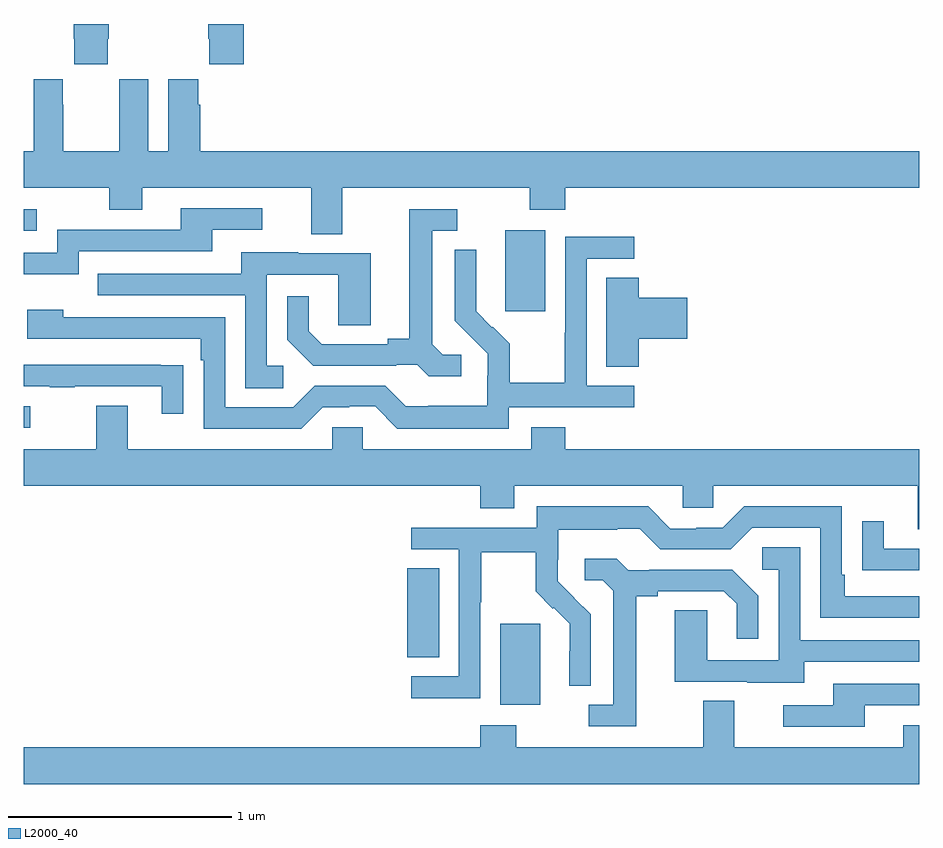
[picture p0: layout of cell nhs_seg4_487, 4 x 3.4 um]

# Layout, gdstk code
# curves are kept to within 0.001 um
import gdstk
lib = gdstk.Library(unit=1e-6, precision=1e-09)
def R(c, l, rs):  # rectangles x0, y0, x1, y1
    for r in rs: c.add(gdstk.rectangle(r[:2], r[2:], *l))
def P(c, l, *ps):  # polygons
    for p in ps: c.add(gdstk.Polygon(p, *l))
L2000_40 = (2000, 40)

nhs_seg4_487 = lib.new_cell('nhs_seg4_487')
R(nhs_seg4_487, L2000_40, [(137.129,779.858,137.308,780.219), (136.712,780.07,136.855,780.467), (135,781.095,135.028,781.191), (137.15,781.617,137.329,781.978), (135,781.977,135.058,782.073)])
P(nhs_seg4_487, L2000_40, [(135.983,782.9),(135.823,782.9),(135.823,782.833),(135.829,782.833),(135.829,782.721),(135.983,782.721)],
  [(135.375,782.833),(135.378,782.833),(135.378,782.9),(135.223,782.9),(135.223,782.833),(135.225,782.833),(135.225,782.721),(135.375,782.721)],
  [(136.423,782.168),(137.26,782.168),(137.26,782.069),(137.42,782.069),(137.42,782.168),(139,782.168),(139,782.332),(135.788,782.332),(135.788,782.54),(135.778,782.54),(135.778,782.653),(135.644,782.653),(135.644,782.332),(135.556,782.332),(135.556,782.653),(135.426,782.653),(135.426,782.54),(135.425,782.54),(135.425,782.332),(135.175,782.332),(135.175,782.54),(135.174,782.54),(135.174,782.653),(135.044,782.653),(135.044,782.332),(135,782.332),(135,782.168),(135.382,782.168),(135.382,782.069),(135.529,782.069),(135.529,782.168),(136.283,782.168),(136.283,781.96),(136.423,781.96)],
  [(135.246,781.884),(135.841,781.884),(135.841,781.98),(136.066,781.98),(136.066,782.076),(135.701,782.076),(135.701,781.98),(135.15,781.98),(135.15,781.878),(135,781.878),(135,781.781),(135.246,781.781)],
  [(136.954,781.422),(136.872,781.422),(136.825,781.469),(136.825,781.977),(136.936,781.977),(136.936,782.073),(136.721,782.073),(136.721,781.493),(136.625,781.493),(136.625,781.47),(136.33,781.47),(136.273,781.527),(136.273,781.684),(136.176,781.684),(136.176,781.49),(136.292,781.374),(136.664,781.374),(136.664,781.377),(136.758,781.377),(136.81,781.325),(136.954,781.325)],
  [(137.166,781.188),(137.728,781.188),(137.728,781.284),(137.514,781.284),(137.514,781.851),(137.728,781.851),(137.728,781.95),(137.418,781.95),(137.418,781.52),(137.416,781.52),(137.416,781.297),(137.171,781.297),(137.171,781.471),(137.094,781.548),(137.091,781.545),(137.021,781.616),(137.022,781.892),(136.926,781.892),(136.926,781.574),(137.072,781.426),(137.072,781.329),(137.07,781.329),(137.07,781.195),(136.807,781.195),(136.807,781.191),(136.707,781.191),(136.614,781.284),(136.299,781.284),(136.203,781.188),(135.9,781.188),(135.9,781.59),(135.176,781.59),(135.176,781.624),(135.015,781.624),(135.015,781.494),(135.791,781.494),(135.791,781.397),(135.804,781.397),(135.804,781.092),(136.239,781.092),(136.335,781.188),(136.454,781.188),(136.454,781.191),(136.569,781.191),(136.669,781.091),(137.166,781.091)],
  [(136.159,781.374),(136.086,781.374),(136.086,781.779),(136.404,781.779),(136.404,781.555),(136.549,781.555),(136.549,781.875),(136.225,781.875),(136.225,781.879),(135.971,781.879),(135.971,781.785),(135.331,781.785),(135.331,781.689),(135.99,781.689),(135.99,781.273),(136.159,781.273)],
  [(137.747,781.493),(137.965,781.493),(137.965,781.676),(137.747,781.676),(137.747,781.766),(137.603,781.766),(137.603,781.369),(137.747,781.369)],
  [(135.713,781.376),(135.611,781.376),(135.611,781.377),(135,781.377),(135,781.281),(135.115,781.281),(135.115,781.276),(135.227,781.276),(135.227,781.281),(135.617,781.281),(135.617,781.158),(135.713,781.158)],
  [(139,781),(137.42,781),(137.42,781.099),(137.267,781.099),(137.267,781),(136.515,781),(136.515,781.098),(136.377,781.098),(136.377,781),(135.463,781),(135.463,781.195),(135.323,781.195),(135.323,781),(135,781),(135,780.836),(137.039,780.836),(137.039,780.737),(137.191,780.737),(137.191,780.836),(137.943,780.836),(137.943,780.738),(138.081,780.738),(138.081,780.836),(138.995,780.836),(138.995,780.642),(139,780.642)],
  [(137.04,780.316),(137.043,780.316),(137.043,780.54),(137.287,780.54),(137.287,780.365),(137.364,780.288),(137.367,780.291),(137.438,780.221),(137.438,780.098),(137.436,780.098),(137.436,779.944),(137.532,779.944),(137.532,780.262),(137.386,780.41),(137.386,780.507),(137.388,780.507),(137.388,780.641),(137.651,780.641),(137.651,780.645),(137.751,780.645),(137.844,780.552),(138.159,780.552),(138.255,780.648),(138.558,780.648),(138.558,780.246),(139,780.246),(139,780.342),(138.667,780.342),(138.667,780.439),(138.654,780.439),(138.654,780.744),(138.219,780.744),(138.123,780.648),(138.005,780.648),(138.005,780.645),(137.889,780.645),(137.789,780.745),(137.292,780.745),(137.292,780.648),(136.731,780.648),(136.731,780.552),(136.944,780.552),(136.944,779.985),(136.731,779.985),(136.731,779.887),(137.04,779.887)],
  [(139,780.555),(138.841,780.555),(138.841,780.679),(138.745,780.679),(138.745,780.46),(138.847,780.46),(138.847,780.459),(139,780.459)],
  [(138.487,780.051),(139,780.051),(139,780.147),(138.468,780.147),(138.468,780.563),(138.3,780.563),(138.3,780.462),(138.372,780.462),(138.372,780.057),(138.054,780.057),(138.054,780.281),(137.909,780.281),(137.909,779.961),(138.233,779.961),(138.233,779.957),(138.487,779.957)],
  [(137.737,780.344),(137.833,780.344),(137.833,780.366),(138.128,780.366),(138.185,780.309),(138.185,780.153),(138.282,780.153),(138.282,780.346),(138.166,780.462),(137.794,780.462),(137.794,780.459),(137.7,780.459),(137.648,780.511),(137.505,780.511),(137.505,780.414),(137.586,780.414),(137.633,780.367),(137.633,779.859),(137.523,779.859),(137.523,779.763),(137.737,779.763)],
  [(138.757,779.856),(139,779.856),(139,779.952),(138.617,779.952),(138.617,779.856),(138.393,779.856),(138.393,779.76),(138.757,779.76)],
  [(139,779.767),(138.929,779.767),(138.929,779.668),(138.175,779.668),(138.175,779.876),(138.035,779.876),(138.035,779.668),(137.199,779.668),(137.199,779.767),(137.039,779.767),(137.039,779.668),(135,779.668),(135,779.504),(139,779.504)])

lib.write_gds('nhs_seg4_487.gds')
